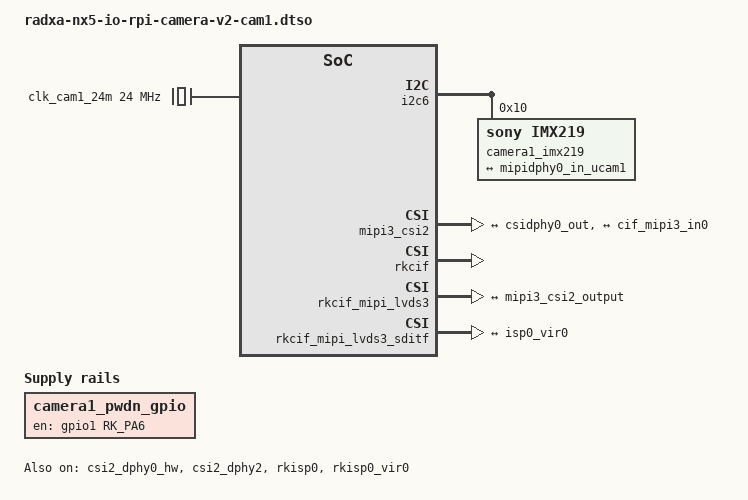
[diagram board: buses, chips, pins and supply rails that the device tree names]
/dts-v1/;
/plugin/;

#include <dt-bindings/gpio/gpio.h>
#include <dt-bindings/pinctrl/rockchip.h>

/ {
	metadata {
		title ="Enable Raspberry Pi Camera v2 on CAM1";
		compatible = "radxa,nx5-io";
		category = "camera";
		exclusive = "csi2_dphy2";
		description = "Enable Raspberry Pi Camera v2 on CAM1.";
	};


	fragment@0 {
		target-path = "/";

		__overlay__ {
			camera1_pwdn_gpio: camera1-pwdn-gpio {
				compatible = "regulator-fixed";
				regulator-name = "camera1_pwdn_gpio";
				regulator-always-on;
				regulator-boot-on;
				enable-active-high;
				gpio = <&gpio1 RK_PA6 GPIO_ACTIVE_HIGH>;
				pinctrl-names = "default";
				pinctrl-0 = <&cam1_pwdn_gpio>;
			};

			clk_cam1_24m: external-camera-clock-24m {
				compatible = "fixed-clock";
				clock-frequency = <24000000>;
				clock-output-names = "clk_cam1_24m";
				#clock-cells = <0>;
			};
		};
	};

	fragment@1 {
		target = <&i2c6>;

		__overlay__ {
			status = "okay";

			camera1_imx219: camera1-imx219@10 {
				compatible = "sony,imx219";
				reg = <0x10>;

				clocks = <&clk_cam1_24m>;
				clock-names = "xvclk";

				rockchip,camera-module-index = <0>;
				rockchip,camera-module-facing = "back";
				rockchip,camera-module-name = "rpi-camera-v2";
				rockchip,camera-module-lens-name = "default";

				port {
					imx219_out1: endpoint {
						remote-endpoint = <&mipidphy0_in_ucam1>;
						data-lanes = <1 2>;
					};
				};
			};
		};
	};

	fragment@2 {
		target = <&csi2_dphy0_hw>;

		__overlay__ {
			status = "okay";
		};
	};

	fragment@3 {
		target = <&csi2_dphy2>;

		__overlay__ {
			status = "okay";

			ports {
				#address-cells = <1>;
				#size-cells = <0>;

				port@0 {
					reg = <0>;
					#address-cells = <1>;
					#size-cells = <0>;

					mipidphy0_in_ucam1: endpoint@2 {
						reg = <2>;
						remote-endpoint = <&imx219_out1>;
						data-lanes = <1 2>;
					};
				};

				port@1 {
					reg = <1>;
					#address-cells = <1>;
					#size-cells = <0>;

					csidphy0_out: endpoint@0 {
						reg = <0>;
						remote-endpoint = <&mipi3_csi2_input>;
					};
				};
			};
		};
	};

	fragment@4 {
		target = <&mipi3_csi2>;

		__overlay__ {
			status = "okay";

			ports {
				#address-cells = <1>;
				#size-cells = <0>;

				port@0 {
					reg = <0>;
					#address-cells = <1>;
					#size-cells = <0>;

					mipi3_csi2_input: endpoint@1 {
						reg = <1>;
						remote-endpoint = <&csidphy0_out>;
					};
				};

				port@1 {
					reg = <1>;
					#address-cells = <1>;
					#size-cells = <0>;

					mipi3_csi2_output: endpoint@0 {
						reg = <0>;
						remote-endpoint = <&cif_mipi3_in0>;
					};
				};
			};
		};
	};

	fragment@5 {
		target = <&rkcif>;

		__overlay__ {
			status = "okay";
		};
	};

	fragment@6 {
		target = <&rkcif_mipi_lvds3>;

		__overlay__ {
			status = "okay";

			port {
				cif_mipi3_in0: endpoint {
					remote-endpoint = <&mipi3_csi2_output>;
				};
			};
		};
	};

	fragment@7 {
		target = <&rkcif_mipi_lvds3_sditf>;

		__overlay__ {
			status = "okay";

			port {
				mipi_lvds3_sditf: endpoint {
					remote-endpoint = <&isp0_vir0>;
				};
			};
		};
	};

	fragment@8 {
		target = <&rkcif_mmu>;

		__overlay__ {
			status = "okay";
		};
	};

	fragment@9 {
		target = <&isp0_mmu>;

		__overlay__ {
			status = "okay";
		};
	};

	fragment@10 {
		target = <&rkisp0>;

		__overlay__ {
			status = "okay";
		};
	};

	fragment@11 {
		target = <&rkisp0_vir0>;

		__overlay__ {
			status = "okay";

			port {
				#address-cells = <1>;
				#size-cells = <0>;

				isp0_vir0: endpoint@0 {
					reg = <0>;
					remote-endpoint = <&mipi_lvds3_sditf>;
				};
			};
		};
	};

	fragment@12 {
		target = <&pinctrl>;

		__overlay__ {
			camera {
				cam1_pwdn_gpio: cam1-pwdn-gpio {
					rockchip,pins = <1 RK_PA6 RK_FUNC_GPIO &pcfg_pull_up>;
				};
			};
		};
	};
};
